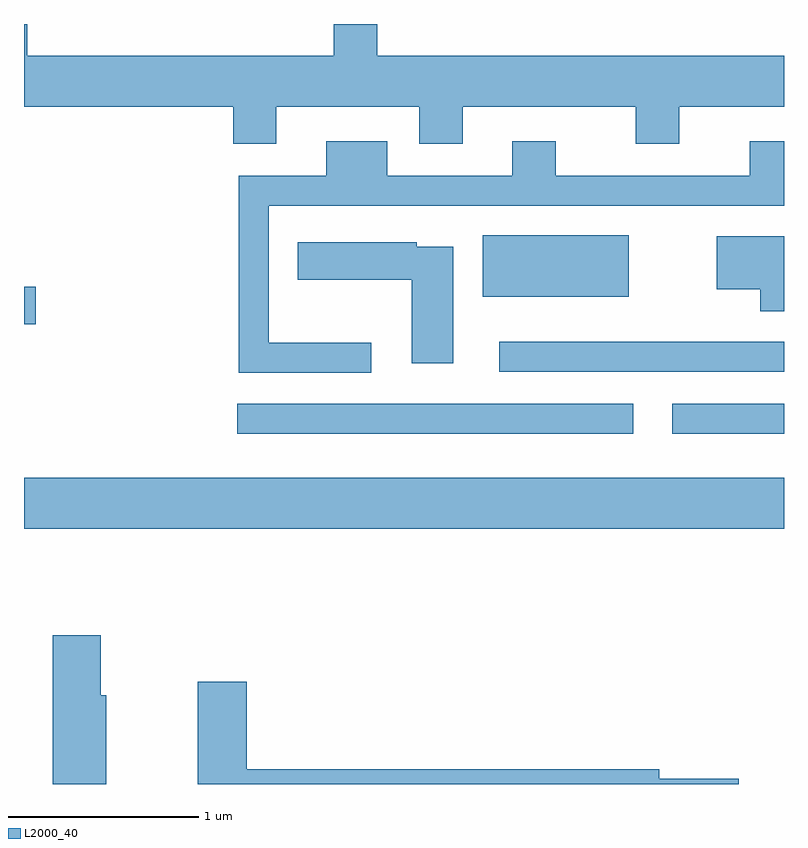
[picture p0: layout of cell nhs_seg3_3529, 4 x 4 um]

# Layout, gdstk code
import gdstk
lib = gdstk.Library(unit=1e-6, precision=1e-09)
def R(c, l, rs):  # rectangles x0, y0, x1, y1
    for r in rs: c.add(gdstk.rectangle(r[:2], r[2:], *l))
def P(c, l, *ps):  # polygons
    for p in ps: c.add(gdstk.Polygon(p, *l))
L2000_40 = (2000, 40)

nhs_seg3_3529 = lib.new_cell('nhs_seg3_3529')
R(nhs_seg3_3529, L2000_40, [(287.611,1239.236,291.611,1239.504), (288.733,1239.736,290.818,1239.894), (291.023,1239.736,291.611,1239.894), (290.113,1240.061,291.611,1240.219), (287.611,1240.311,287.674,1240.509), (290.026,1240.456,290.794,1240.779)])
P(nhs_seg3_3529, L2000_40, [(288.939,1241.456),(289.691,1241.456),(289.691,1241.261),(289.919,1241.261),(289.919,1241.456),(290.831,1241.456),(290.831,1241.261),(291.059,1241.261),(291.059,1241.456),(291.611,1241.456),(291.611,1241.724),(289.469,1241.724),(289.469,1241.892),(289.241,1241.892),(289.241,1241.724),(287.629,1241.724),(287.629,1241.892),(287.611,1241.892),(287.611,1241.456),(288.711,1241.456),(288.711,1241.261),(288.939,1241.261)],
  [(289.438,1240.214),(288.899,1240.214),(288.899,1240.936),(291.611,1240.936),(291.611,1241.274),(291.431,1241.274),(291.431,1241.094),(290.409,1241.094),(290.409,1241.274),(290.181,1241.274),(290.181,1241.094),(289.524,1241.094),(289.524,1241.274),(289.201,1241.274),(289.201,1241.094),(288.741,1241.094),(288.741,1240.056),(289.438,1240.056)],
  [(291.611,1240.774),(291.256,1240.774),(291.256,1240.496),(291.486,1240.496),(291.486,1240.381),(291.611,1240.381)],
  [(289.869,1240.719),(289.679,1240.719),(289.679,1240.744),(289.051,1240.744),(289.051,1240.546),(289.651,1240.546),(289.651,1240.106),(289.869,1240.106)],
  [(288.044,1238.359),(288.014,1238.359),(288.014,1238.674),(287.761,1238.674),(287.761,1237.892),(288.044,1237.892)],
  [(291.374,1237.919),(290.954,1237.919),(290.954,1237.969),(288.784,1237.969),(288.784,1238.429),(288.526,1238.429),(288.526,1237.892),(291.374,1237.892)])

lib.write_gds('nhs_seg3_3529.gds')
